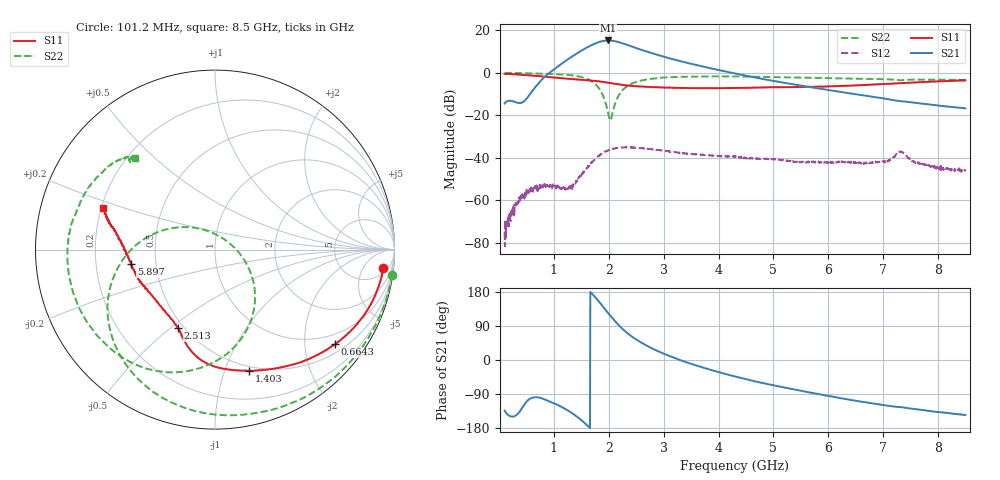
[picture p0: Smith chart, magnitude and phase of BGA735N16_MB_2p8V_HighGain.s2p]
! S-Parameter file
! MATLAB S2P writer
! (c) DICE Linz
! Infineon Technologies
! Date: 09.09.2009 10:28
!BGA735N16
!2.80V; 2.80V;
!25.00 deg
# MHZ S MA R 50
!  S11  S21  S12  S22
!  f  mag  angle  mag  angle  mag  angle  mag  angle
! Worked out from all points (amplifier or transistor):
!   1582 points, 101.2 MHz to 8.5 GHz, reference 50 ohm
!   highest |S21| = 15.2 dB at 1.987 GHz (marker M1)
!   |S21| within 3 dB of that: 1.624 GHz to 2.435 GHz (811.7 MHz wide, 40 % of centre)
!   unconditionally stable (mu >= 1): start of sweep to end of sweep
!   at 1.498 GHz: K = 7.58, MAG = 17.2 dB, |S12| = -47.7 dB
!   at 4.303 GHz: K = 12.61, MAG = 5.5 dB, |S12| = -39.4 dB
!   at 8.5 GHz: K = 192.79, MAG = -11.5 dB, |S12| = -45.5 dB
!   lowest NFmin = 0.85 dB at 1.85 GHz
!   S11 on the Smith chart (normalised r, x): 101.2 MHz: 7, -14; 664.3 MHz: 0.71, -2.72; 1.403 GHz: 0.46, -1.21; 2.513 GHz: 0.46, -0.53; 5.897 GHz: 0.36, -0.07; 8.5 GHz: 0.21, +0.17
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101.2339  0.9443 -6.3  0.19 -133.4  0.000181 97.4  0.9972 -8.1
393.4111  0.9077 -23.5  0.1948 -132.4  0.001107 104.7  0.985 -30.8
664.3391  0.8519 -38.2  0.467 -98.2  0.002022 85.9  0.9688 -51.9
1089.324  0.7576 -59.4  1.461 -120.0  0.002101 73.5  0.9227 -87.4
1402.751  0.7011 -74.3  2.773 -147.8  0.00281 129.2  0.8451 -118.9
1503.684  0.6854 -79.2  3.328 -159.2  0.003884 133.0  0.7947 -131.2
1641.805  0.6657 -86.0  4.213 -177.4  0.006408 132.0  0.685 -151.0
1785.237  0.6386 -93.2  5.119 160.3  0.01038 120.9  0.494 -176.6
1880.859  0.6158 -97.9  5.571 143.5  0.01296 109.1  0.3198 161.2
1987.105  0.586 -102.4  5.778 124.1  0.01496 95.7  0.1142 112.9
2109.288  0.5534 -106.6  5.561 103.0  0.01665 81.5  0.1796 -21.2
2263.345  0.5184 -110.6  4.907 80.2  0.01753 64.6  0.4071 -58.3
2380.216  0.4986 -112.9  4.344 66.1  0.01758 54.2  0.5262 -74.8
2513.024  0.4834 -115.4  3.768 52.9  0.01722 43.9  0.6175 -88.9
2900.823  0.4564 -122.2  2.622 23.1  0.01536 22.9  0.76 -118.4
3458.615  0.4379 -132.7  1.676 -8.2  0.01277 7.7  0.816 -148.2
4303.273  0.4386 -149.6  0.9646 -43.6  0.01077 -6.7  0.8211 179.0
5700.411  0.47 -167.5  0.4551 -86.6  0.00812 -14.7  0.7649 147.1
5896.967  0.4738 -170.4  0.4149 -92.1  0.007636 -17.6  0.7581 143.9
7102.862  0.5548 171.3  0.2391 -120.9  0.008471 -23.5  0.7038 132.5
7325.979  0.5713 168.9  0.2149 -124.3  0.0138 -48.5  0.6697 133.4
8500  0.6661 159.4  0.1463 -145.2  0.005319 -81.2  0.6796 131.2
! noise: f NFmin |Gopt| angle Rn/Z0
1850  0.85  0.413  90  6.9
1960  0.86  0.41  92  6.9
2140  0.94  0.422  104  6.2
